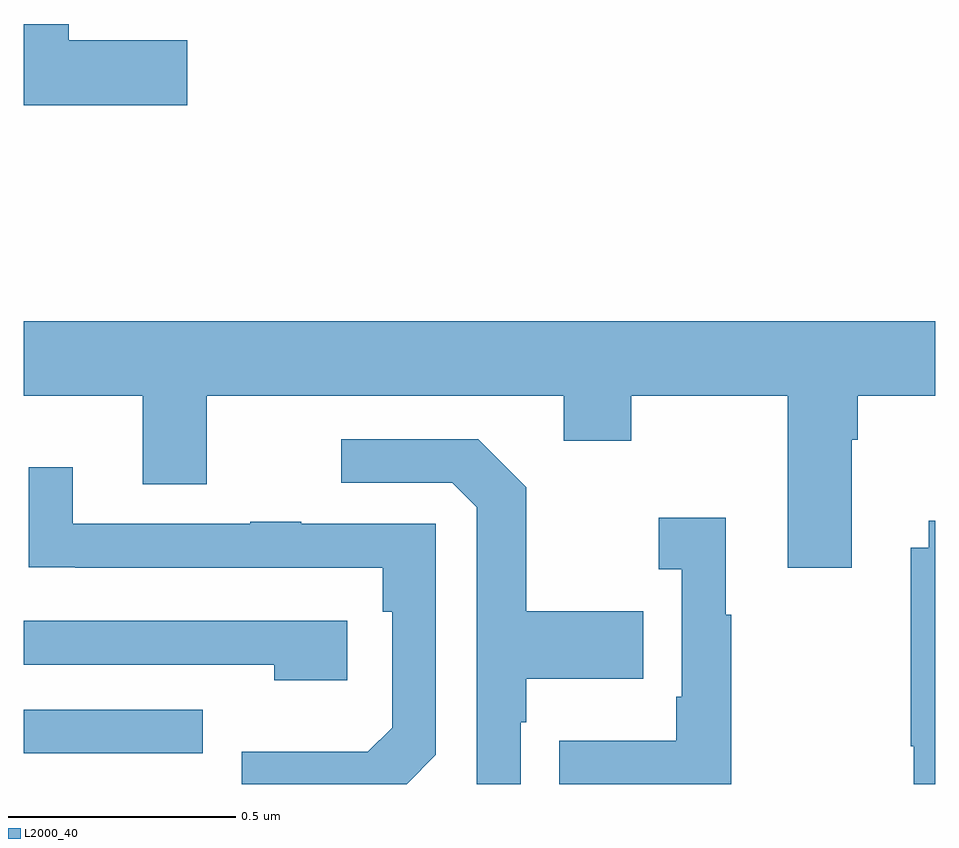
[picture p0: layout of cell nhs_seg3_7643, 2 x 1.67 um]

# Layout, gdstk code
import gdstk
lib = gdstk.Library(unit=1e-6, precision=1e-09)
def R(c, l, rs):  # rectangles x0, y0, x1, y1
    for r in rs: c.add(gdstk.rectangle(r[:2], r[2:], *l))
def P(c, l, *ps):  # polygons
    for p in ps: c.add(gdstk.Polygon(p, *l))
L2000_40 = (2000, 40)

nhs_seg3_7643 = lib.new_cell('nhs_seg3_7643')
R(nhs_seg3_7643, L2000_40, [(206,697.467,206.393,697.563)])
P(nhs_seg3_7643, L2000_40, [(206.359,699.032),(206.098,699.032),(206.098,699.068),(206,699.068),(206,698.89),(206.359,698.89)],
  [(207.817,698.156),(207.83,698.156),(207.83,698.252),(208,698.252),(208,698.416),(206,698.416),(206,698.252),(206.261,698.252),(206.261,698.058),(206.401,698.058),(206.401,698.252),(207.185,698.252),(207.185,698.153),(207.333,698.153),(207.333,698.252),(207.677,698.252),(207.677,697.875),(207.817,697.875)],
  [(207.09,697.535),(207.103,697.535),(207.103,697.631),(207.359,697.631),(207.359,697.779),(207.103,697.779),(207.103,698.051),(206.997,698.157),(206.697,698.157),(206.697,698.061),(206.94,698.061),(206.994,698.007),(206.994,697.4),(207.09,697.4)],
  [(206.904,697.464),(206.904,697.971),(206.609,697.971),(206.609,697.976),(206.497,697.976),(206.497,697.971),(206.107,697.971),(206.107,698.095),(206.011,698.095),(206.011,697.876),(206.113,697.876),(206.113,697.875),(206.788,697.875),(206.788,697.778),(206.808,697.778),(206.808,697.524),(206.755,697.471),(206.478,697.471),(206.478,697.4),(206.84,697.4)],
  [(207.553,697.771),(207.541,697.771),(207.541,697.984),(207.393,697.984),(207.393,697.871),(207.444,697.871),(207.444,697.591),(207.432,697.591),(207.432,697.495),(207.175,697.495),(207.175,697.4),(207.553,697.4)],
  [(208,697.978),(207.986,697.978),(207.986,697.918),(207.946,697.918),(207.946,697.483),(207.953,697.483),(207.953,697.4),(208,697.4)],
  [(206.71,697.758),(206,697.758),(206,697.662),(206.549,697.662),(206.549,697.628),(206.71,697.628)])

lib.write_gds('nhs_seg3_7643.gds')
